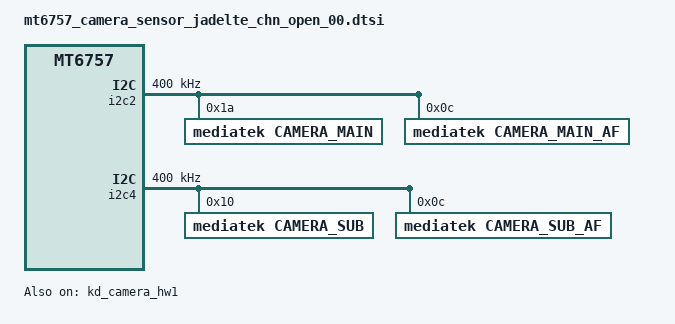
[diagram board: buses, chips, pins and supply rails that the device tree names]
/* Camera sensor dtsi file */

&i2c2 {
	#address-cells = <1>;
	#size-cells = <0>;
	clock-frequency = <400000>;
	mediatek,use-open-drain;
	camera_main@1a {
		compatible = "mediatek,camera_main";
		reg = <0x1a>;
		status = "okay";
	};

	camera_main_af@0c {
		compatible = "mediatek,camera_main_af";
		reg = <0x0c>;
		status = "okay";
	};

};

&i2c4 {
	#address-cells = <1>;
	#size-cells = <0>;
	clock-frequency = <400000>;
	mediatek,use-open-drain;
	camera_sub@10 {
		compatible = "mediatek,camera_sub";
		reg = <0x10>;
		status = "okay";
	};

	camera_sub_af@0c {
		compatible = "mediatek,camera_sub_af";
		reg = <0x0c>;
		status = "okay";
	};

};



/* CAMERA GPIO standardization */
&pio {
	camera_pins_cam0_rst0: cam0@0 {
		pins_cmd_dat {
			pins = <PINMUX_GPIO110__FUNC_GPIO110>;
			slew-rate = <1>; /*direction 0:in, 1:out*/
			bias-disable;
			output-low;/*direction out used only. output_low or high*/
		};
	};
	camera_pins_cam0_rst1: cam0@1 {
		pins_cmd_dat {
			pins = <PINMUX_GPIO110__FUNC_GPIO110>;
			slew-rate = <1>;
			bias-disable;
			output-high;
		};
	};
	camera_pins_cam1_rst0: cam1@0 {
		pins_cmd_dat {
			pins = <PINMUX_GPIO111__FUNC_GPIO111>;
			slew-rate = <1>; /*direction 0:in, 1:out*/
			bias-pull-down=<11>;
			output-low;/*direction out used only. output_low or high*/
		};
	};
	camera_pins_cam1_rst1: cam1@1 {
		pins_cmd_dat {
			pins = <PINMUX_GPIO111__FUNC_GPIO111>;
			slew-rate = <1>;
			bias-disable;
			output-high;
		};
	};
	camera_pins_cam2_rst0: cam2@0 {
		pins_cmd_dat {
			pins = <PINMUX_GPIO21__FUNC_GPIO21>;
			slew-rate = <1>;
			bias-disable;			
			output-low;
		};
	};
	camera_pins_cam2_rst1: cam2@1 {
		pins_cmd_dat {
			pins = <PINMUX_GPIO21__FUNC_GPIO21>;
			slew-rate = <1>;
			bias-disable;			
			output-high;
		};
	};
	camera_pins_cam_mipi_en_0: mipi_en@0 {
		pins_cmd_dat {
			pins = <PINMUX_GPIO107__FUNC_GPIO107>;
			slew-rate = <1>;
			output-low;
		};
	};
	camera_pins_cam_mipi_en_1: mipi_en@1 {
		pins_cmd_dat {
			pins = <PINMUX_GPIO107__FUNC_GPIO107>;
			slew-rate = <1>;
			output-high;
		};
	};
	camera_pins_cam_mipi_sel_0: mipi_sel@0 {
		pins_cmd_dat {
			pins = <PINMUX_GPIO7__FUNC_GPIO7>;
			slew-rate = <1>;
			bias-pull-down=<11>;
			output-low;
		};
	};
	camera_pins_cam_mipi_sel_1: mipi_sel@1 {
		pins_cmd_dat {
			pins = <PINMUX_GPIO7__FUNC_GPIO7>;
			slew-rate = <1>;
			bias-pull-down=<11>;
			output-high;
		};
	};
	camera_pins_cam_ldo_main_vcamio_0: cam0@vcamio0 {
		pins_cmd_dat {
			pins = <PINMUX_GPIO104__FUNC_GPIO104>;
			slew-rate = <1>;
			bias-pull-down=<11>;
			output-low;
		};
	};
	camera_pins_cam_ldo_main_vcamio_1: cam0@vcamio1 {
		pins_cmd_dat {
			pins = <PINMUX_GPIO104__FUNC_GPIO104>;
			slew-rate = <1>;
			bias-pull-down=<11>;
			output-high;
		};
	};		
	camera_pins_cam_ldo_monocam_vcamd_0: monocam@vcamd0 {
		pins_cmd_dat {
			pins = <PINMUX_GPIO19__FUNC_GPIO19>;
			slew-rate = <1>;
			output-low;
		};
	};
	camera_pins_cam_ldo_monocam_vcamd_1: monocam@vcamd1 {
		pins_cmd_dat {
			pins = <PINMUX_GPIO19__FUNC_GPIO19>;
			slew-rate = <1>;
			output-high;
		};
	};
	camera_pins_cam_ldo_monocam_vcama_0: monocam@vcama0 {
		pins_cmd_dat {
			pins = <PINMUX_GPIO45__FUNC_GPIO45>;
			slew-rate = <1>;
			output-low;
		};
	};
	camera_pins_cam_ldo_monocam_vcama_1: monocam@vcama1 {
		pins_cmd_dat {
			pins = <PINMUX_GPIO45__FUNC_GPIO45>;
			slew-rate = <1>;
			output-high;
		};
	};

	
	camera_pins_default: camdefault {	
	};

};

&kd_camera_hw1 {
	pinctrl-names = "default",
			"cam0_rst0", "cam0_rst1", 
			"cam1_rst0", "cam1_rst1",
			"cam2_rst0", "cam2_rst1",
			"cam_mipi_switch_en_0", "cam_mipi_switch_en_1",			
			"cam_mipi_switch_sel_0", "cam_mipi_switch_sel_1",
			"cam_ldo_vcamio_0", "cam_ldo_vcamio_1",
			"cam_ldo_monocam_vcamd_0", "cam_ldo_monocam_vcamd_1",		
			"cam_ldo_monocam_vcama_0", "cam_ldo_monocam_vcama_1";
			
	pinctrl-0 = <&camera_pins_default>;
	pinctrl-1 = <&camera_pins_cam0_rst0>;
	pinctrl-2 = <&camera_pins_cam0_rst1>;
	pinctrl-3 = <&camera_pins_cam1_rst0>;
	pinctrl-4 = <&camera_pins_cam1_rst1>;
	pinctrl-5 = <&camera_pins_cam2_rst0>;
	pinctrl-6 = <&camera_pins_cam2_rst1>;
	pinctrl-7 = <&camera_pins_cam_mipi_en_0>;
	pinctrl-8 = <&camera_pins_cam_mipi_en_1>;	
	pinctrl-9 = <&camera_pins_cam_mipi_sel_0>;
	pinctrl-10 = <&camera_pins_cam_mipi_sel_1>;
	pinctrl-11 = <&camera_pins_cam_ldo_main_vcamio_0>;
	pinctrl-12 = <&camera_pins_cam_ldo_main_vcamio_1>;
	pinctrl-13 = <&camera_pins_cam_ldo_monocam_vcamd_0>;
	pinctrl-14 = <&camera_pins_cam_ldo_monocam_vcamd_1>;
	pinctrl-15 = <&camera_pins_cam_ldo_monocam_vcama_0>;
	pinctrl-16 = <&camera_pins_cam_ldo_monocam_vcama_1>;

	status = "okay";

};
/* CAMERA GPIO end */

